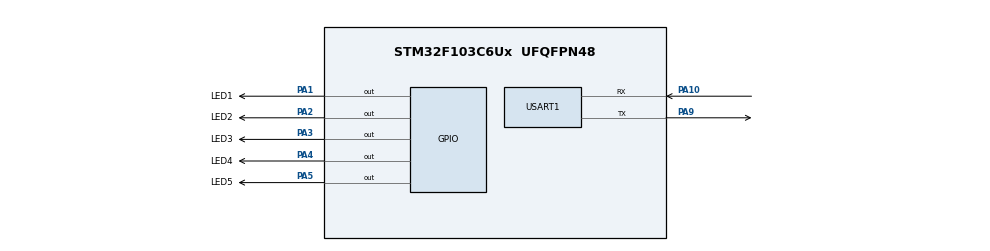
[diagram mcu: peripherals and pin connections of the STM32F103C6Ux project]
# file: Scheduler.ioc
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Mcu.Family=STM32F1
Mcu.Name=STM32F103C6Ux
Mcu.Package=UFQFPN48
NVIC.PriorityGroup=NVIC_PRIORITYGROUP_4
NVIC.TIM2_IRQn=true\:0\:0\:false\:false\:true\:true\:true
NVIC.USART1_IRQn=true\:0\:0\:false\:false\:true\:true\:true
PA1.GPIO_Label=LED1
PA1.Signal=GPIO_Output
PA10.Mode=Asynchronous
PA10.Signal=USART1_RX
PA13.Mode=Serial_Wire
PA13.Signal=SYS_JTMS-SWDIO
PA14.Mode=Serial_Wire
PA14.Signal=SYS_JTCK-SWCLK
PA2.GPIO_Label=LED2
PA2.Signal=GPIO_Output
PA3.GPIO_Label=LED3
PA3.Signal=GPIO_Output
PA4.GPIO_Label=LED4
PA4.Signal=GPIO_Output
PA5.GPIO_Label=LED5
PA5.Signal=GPIO_Output
PA9.Mode=Asynchronous
PA9.Signal=USART1_TX
ProjectManager.HeapSize=0x200
ProjectManager.StackSize=0x400
ProjectManager.TargetToolchain=STM32CubeIDE
RCC.APB1Freq_Value=8000000
RCC.APB2Freq_Value=8000000
TIM2.Period=9
TIM2.Prescaler=7999
USART1.VirtualMode=VM_ASYNC
VP_TIM2_VS_ClockSourceINT.Mode=Internal
board=custom

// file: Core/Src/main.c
/* USER CODE BEGIN Header */
/**
  ******************************************************************************
  * @file           : main.c
  * @brief          : Main program body
  ******************************************************************************
  * @attention
  *
  * <h2><center>&copy; Copyright (c) 2022 STMicroelectronics.
  * All rights reserved.</center></h2>
  *
  * This software component is licensed by ST under BSD 3-Clause license,
  * the "License"; You may not use this file except in compliance with the
  * License. You may obtain a copy of the License at:
  *                        opensource.org/licenses/BSD-3-Clause
  *
  ******************************************************************************
  */
/* USER CODE END Header */
#include "main.h"

/* USER CODE BEGIN Includes */
#include "scheduler.h"
#include <stdio.h>
#include <stdlib.h>
#include <string.h>
/* USER CODE END Includes */

TIM_HandleTypeDef htim2;

UART_HandleTypeDef huart1;

void SystemClock_Config(void);
static void MX_TIM2_Init(void);
static void MX_GPIO_Init(void);
static void MX_USART1_UART_Init(void);

/* USER CODE BEGIN 0 */
uint8_t var[30];
int time_Stamp = 0;
void Toggle_Led1(){
	/* Toggle led */
	HAL_GPIO_TogglePin(LED1_GPIO_Port, LED1_Pin);
	/* Create String to display on terminal */
	uint8_t showTimeStamp[30] = {"Task1: "};
	itoa(time_Stamp*10, var, 10);
	strcat(showTimeStamp, var);
	strcat(showTimeStamp, "ms\r\n");
	HAL_UART_Transmit(&huart1, &showTimeStamp[0], strlen(showTimeStamp), 100);
}
void Toggle_Led2(){
	/* Toggle led */
	HAL_GPIO_TogglePin(LED2_GPIO_Port, LED2_Pin);
	/* Create String to display on terminal */
	uint8_t showTimeStamp[30] = {"Task2: "};
	itoa(time_Stamp*10, var, 10);
	strcat(showTimeStamp, var);
	strcat(showTimeStamp, "ms\r\n");
	HAL_UART_Transmit(&huart1, &showTimeStamp[0], strlen(showTimeStamp), 100);
}
void Toggle_Led3(){
	/* Toggle led */
	HAL_GPIO_TogglePin(LED3_GPIO_Port, LED3_Pin);
	/* Create String to display on terminal */
	uint8_t showTimeStamp[30] = {"Task3: "};
	itoa(time_Stamp*10, var, 10);
	strcat(showTimeStamp, var);
	strcat(showTimeStamp, "ms\r\n");
	HAL_UART_Transmit(&huart1, &showTimeStamp[0], strlen(showTimeStamp), 100);
}
void Toggle_Led4(){
	/* Toggle led */
	HAL_GPIO_TogglePin(LED4_GPIO_Port, LED4_Pin);
	/* Create String to display on terminal */
	uint8_t showTimeStamp[30] = {"Task4: "};
	itoa(time_Stamp*10, var, 10);
	strcat(showTimeStamp, var);
	strcat(showTimeStamp, "ms\r\n");
	HAL_UART_Transmit(&huart1, &showTimeStamp[0], strlen(showTimeStamp), 100);
}
void One_Shot_Led(){
	/* Toggle led */
	HAL_GPIO_TogglePin(LED5_GPIO_Port, LED5_Pin);
	/* Create String to display on terminal */
	uint8_t showTimeStamp[30] = {"One-Shot: "};
	itoa(time_Stamp*10, var, 10);
	strcat(showTimeStamp, var);
	strcat(showTimeStamp, "ms\r\n");
	HAL_UART_Transmit(&huart1, &showTimeStamp[0], strlen(showTimeStamp), 100);
}
/* USER CODE END 0 */

int main(void)
{

  /* MCU Configuration--------------------------------------------------------*/

  /* Reset of all peripherals, Initializes the Flash interface and the Systick. */
  HAL_Init();

  /* Configure the system clock */
  SystemClock_Config();

  /* Initialize all configured peripherals */
  MX_TIM2_Init();
  MX_GPIO_Init();
  MX_USART1_UART_Init();
  /* USER CODE BEGIN 2 */
  /* Turn off all led */
  HAL_TIM_Base_Start_IT (& htim2 ) ;
  HAL_GPIO_WritePin(LED1_GPIO_Port, LED1_Pin, SET);
  HAL_GPIO_WritePin(LED2_GPIO_Port, LED2_Pin, SET);
  HAL_GPIO_WritePin(LED3_GPIO_Port, LED3_Pin, SET);
  HAL_GPIO_WritePin(LED4_GPIO_Port, LED4_Pin, SET);
  HAL_GPIO_WritePin(LED5_GPIO_Port, LED5_Pin, SET);
  /* Add task */
  SCH_Add_Task(Toggle_Led1, 101, 50);
  SCH_Add_Task(Toggle_Led2, 102, 100);
  SCH_Add_Task(Toggle_Led3, 103, 150);
  SCH_Add_Task(Toggle_Led4, 104, 200);
  SCH_Add_Task(One_Shot_Led, 305, 0);
  /* USER CODE END 2 */

  /* Infinite loop */
  /* USER CODE BEGIN WHILE */
  while (1)
  {
	  SCH_Dispatch_Tasks();
    /* USER CODE END WHILE */

  }
}

void SystemClock_Config(void)
{
  RCC_OscInitTypeDef RCC_OscInitStruct = {0};
  RCC_ClkInitTypeDef RCC_ClkInitStruct = {0};

  /** Initializes the RCC Oscillators according to the specified parameters
  * in the RCC_OscInitTypeDef structure.
  */
  RCC_OscInitStruct.OscillatorType = RCC_OSCILLATORTYPE_HSI;
  RCC_OscInitStruct.HSIState = RCC_HSI_ON;
  RCC_OscInitStruct.HSICalibrationValue = RCC_HSICALIBRATION_DEFAULT;
  RCC_OscInitStruct.PLL.PLLState = RCC_PLL_NONE;
  if (HAL_RCC_OscConfig(&RCC_OscInitStruct) != HAL_OK)
  {
    Error_Handler();
  }
  /** Initializes the CPU, AHB and APB buses clocks
  */
  RCC_ClkInitStruct.ClockType = RCC_CLOCKTYPE_HCLK|RCC_CLOCKTYPE_SYSCLK
                              |RCC_CLOCKTYPE_PCLK1|RCC_CLOCKTYPE_PCLK2;
  RCC_ClkInitStruct.SYSCLKSource = RCC_SYSCLKSOURCE_HSI;
  RCC_ClkInitStruct.AHBCLKDivider = RCC_SYSCLK_DIV1;
  RCC_ClkInitStruct.APB1CLKDivider = RCC_HCLK_DIV1;
  RCC_ClkInitStruct.APB2CLKDivider = RCC_HCLK_DIV1;

  if (HAL_RCC_ClockConfig(&RCC_ClkInitStruct, FLASH_LATENCY_0) != HAL_OK)
  {
    Error_Handler();
  }
}

static void MX_TIM2_Init(void)
{

  TIM_ClockConfigTypeDef sClockSourceConfig = {0};
  TIM_MasterConfigTypeDef sMasterConfig = {0};

  htim2.Instance = TIM2;
  htim2.Init.Prescaler = 7999;
  htim2.Init.CounterMode = TIM_COUNTERMODE_UP;
  htim2.Init.Period = 9;
  htim2.Init.ClockDivision = TIM_CLOCKDIVISION_DIV1;
  htim2.Init.AutoReloadPreload = TIM_AUTORELOAD_PRELOAD_DISABLE;
  if (HAL_TIM_Base_Init(&htim2) != HAL_OK)
  {
    Error_Handler();
  }
  sClockSourceConfig.ClockSource = TIM_CLOCKSOURCE_INTERNAL;
  if (HAL_TIM_ConfigClockSource(&htim2, &sClockSourceConfig) != HAL_OK)
  {
    Error_Handler();
  }
  sMasterConfig.MasterOutputTrigger = TIM_TRGO_RESET;
  sMasterConfig.MasterSlaveMode = TIM_MASTERSLAVEMODE_DISABLE;
  if (HAL_TIMEx_MasterConfigSynchronization(&htim2, &sMasterConfig) != HAL_OK)
  {
    Error_Handler();
  }

}

static void MX_USART1_UART_Init(void)
{

  huart1.Instance = USART1;
  huart1.Init.BaudRate = 115200;
  huart1.Init.WordLength = UART_WORDLENGTH_8B;
  huart1.Init.StopBits = UART_STOPBITS_1;
  huart1.Init.Parity = UART_PARITY_NONE;
  huart1.Init.Mode = UART_MODE_TX_RX;
  huart1.Init.HwFlowCtl = UART_HWCONTROL_NONE;
  huart1.Init.OverSampling = UART_OVERSAMPLING_16;
  if (HAL_UART_Init(&huart1) != HAL_OK)
  {
    Error_Handler();
  }

}

static void MX_GPIO_Init(void)
{
  GPIO_InitTypeDef GPIO_InitStruct = {0};

  /* GPIO Ports Clock Enable */
  __HAL_RCC_GPIOA_CLK_ENABLE();

  /*Configure GPIO pin Output Level */
  HAL_GPIO_WritePin(GPIOA, LED1_Pin|LED2_Pin|LED3_Pin|LED4_Pin
                          |LED5_Pin, GPIO_PIN_RESET);

  /*Configure GPIO pins : LED1_Pin LED2_Pin LED3_Pin LED4_Pin
                           LED5_Pin */
  GPIO_InitStruct.Pin = LED1_Pin|LED2_Pin|LED3_Pin|LED4_Pin
                          |LED5_Pin;
  GPIO_InitStruct.Mode = GPIO_MODE_OUTPUT_PP;
  GPIO_InitStruct.Pull = GPIO_NOPULL;
  GPIO_InitStruct.Speed = GPIO_SPEED_FREQ_LOW;
  HAL_GPIO_Init(GPIOA, &GPIO_InitStruct);

}

/* USER CODE BEGIN 4 */
void HAL_TIM_PeriodElapsedCallback ( TIM_HandleTypeDef * htim ){
	SCH_Update () ;
	time_Stamp++;
}
/* USER CODE END 4 */

void Error_Handler(void)
{
  __disable_irq();
  while (1)
  {
  }
}

/************************ (C) COPYRIGHT STMicroelectronics *****END OF FILE****/
